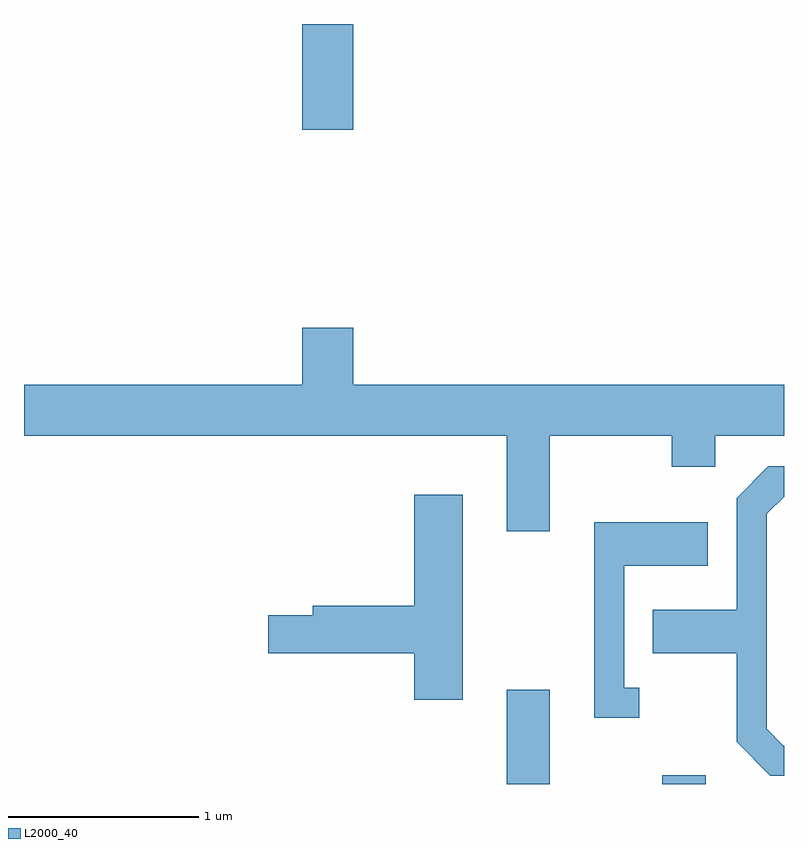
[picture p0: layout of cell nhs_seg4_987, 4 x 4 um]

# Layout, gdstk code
import gdstk
lib = gdstk.Library(unit=1e-6, precision=1e-09)
def R(c, l, rs):  # rectangles x0, y0, x1, y1
    for r in rs: c.add(gdstk.rectangle(r[:2], r[2:], *l))
def P(c, l, *ps):  # polygons
    for p in ps: c.add(gdstk.Polygon(p, *l))
L2000_40 = (2000, 40)

nhs_seg4_987 = lib.new_cell('nhs_seg4_987')
R(nhs_seg4_987, L2000_40, [(216.151,1323.982,216.379,1324.479), (216.971,1323.982,217.199,1324.029), (215.076,1327.426,215.344,1327.982)])
P(nhs_seg4_987, L2000_40, [(216.379,1325.816),(217.021,1325.816),(217.021,1325.651),(217.249,1325.651),(217.249,1325.816),(217.611,1325.816),(217.611,1326.084),(215.344,1326.084),(215.344,1326.384),(215.076,1326.384),(215.076,1326.084),(213.611,1326.084),(213.611,1325.816),(216.151,1325.816),(216.151,1325.311),(216.379,1325.311)],
  [(217.611,1324.184),(217.607,1324.184),(217.519,1324.272),(217.519,1325.404),(217.611,1325.495),(217.611,1325.654),(217.529,1325.654),(217.361,1325.487),(217.361,1324.899),(216.921,1324.899),(216.921,1324.671),(217.361,1324.671),(217.361,1324.204),(217.539,1324.026),(217.611,1324.026)],
  [(215.919,1325.504),(215.666,1325.504),(215.666,1324.919),(215.131,1324.919),(215.131,1324.869),(214.896,1324.869),(214.896,1324.671),(215.666,1324.671),(215.666,1324.426),(215.919,1324.426)],
  [(216.848,1324.489),(216.769,1324.489),(216.769,1325.131),(217.209,1325.131),(217.209,1325.359),(216.611,1325.359),(216.611,1324.331),(216.848,1324.331)])

lib.write_gds('nhs_seg4_987.gds')
